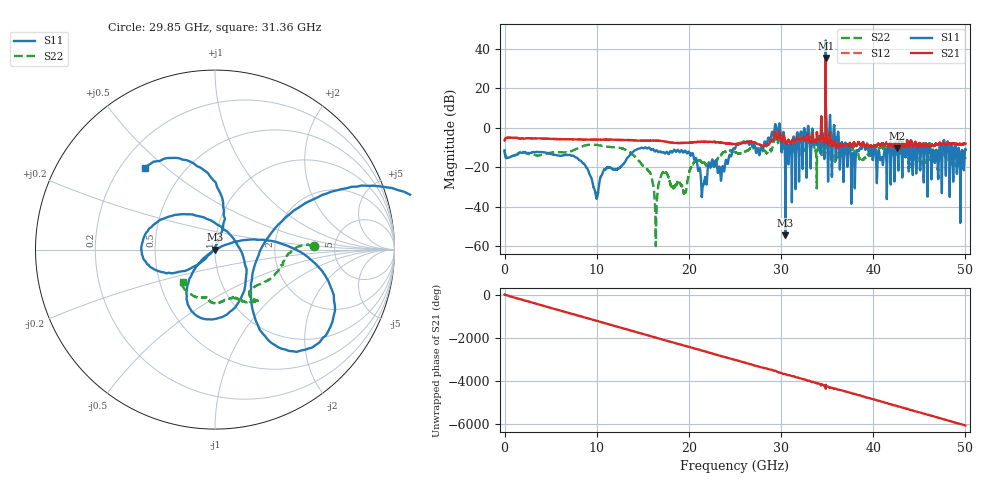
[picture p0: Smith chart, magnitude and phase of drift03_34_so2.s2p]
!Created with skrf (http://scikit-rf.org).
# Hz S RI R 50.0
!freq ReS11 ImS11 ReS21 ImS21 ReS12 ImS12 ReS22 ImS22
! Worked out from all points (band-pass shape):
!   10001 points, 300 kHz to 50 GHz, reference 50 ohm
!   highest |S21| = 35.40 dB at 34.85 GHz (marker M1); lowest = -10.4 dB at 42.56 GHz (marker M2)
!   |S21| within 3 dB of the highest: 34.84433 GHz to 34.84572 GHz (1.387 MHz wide, 0.00398 % of centre)
!   lowest |S11| = -54.4 dB at 30.47 GHz (marker M3), VSWR 1.00, Z = 49.8 - j0.0716 ohm
!   |S11| at or under -10 dB: start of sweep to 15.23 GHz; 15.33 GHz to 25.05 GHz (9.727 GHz wide, 48.2 % of centre); 40.22 GHz to 41.62 GHz (1.398 GHz wide, 3.42 % of centre) (the widest 3 of 57)
!   |S22| runs from -60.0 to 26.5 dB; largest |S21 - S12| = 8.2
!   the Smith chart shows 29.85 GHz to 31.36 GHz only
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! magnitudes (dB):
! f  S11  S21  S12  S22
! 300 kHz  -11.4  -6.5  -6.5  -11.4
! 8.335 GHz  -17.1  -6.0  -6.0  -9.6
! 9.955 GHz  -35.4  -6.1  -6.1  -8.7
! 11 GHz  -20.8  -6.0  -6.0  -9.5
! 13.92 GHz  -12.3  -6.3  -6.3  -13.6
! 16.36 GHz  -11.9  -6.5  -6.5  -43.2
! 16.67 GHz  -12.4  -6.5  -6.5  -29.6
! 17.34 GHz  -12.8  -7.0  -6.9  -22.9
! 19.55 GHz  -11.7  -7.7  -7.7  -32.8
! 20.22 GHz  -13.9  -7.5  -7.5  -20.2
! 21.55 GHz  -28.7  -7.2  -7.2  -17.7
! 25 GHz  -10.6  -8.3  -8.2  -12.5
! 29.6 GHz  -5.5  -5.7  -5.9  -7.8
! 30.47 GHz  -54.4  -7.2  -7.2  -9.1
! 33.34 GHz  -3.8  -6.8  -6.7  -9.4
! 34.85 GHz  44.2  35.4  35.2  26.5
! 35.63 GHz  -6.6  -9.2  -9.1  -16.1
! 37.82 GHz  -12.8  -8.3  -8.3  -9.9
! 38.81 GHz  -9.0  -8.3  -8.3  -16.2
! 41.67 GHz  -9.5  -9.4  -9.4  -11.5
! 42.56 GHz  -8.3  -10.4  -10.5  -13.3
! 50 GHz  -11.0  -8.2  -8.3  -15.6
